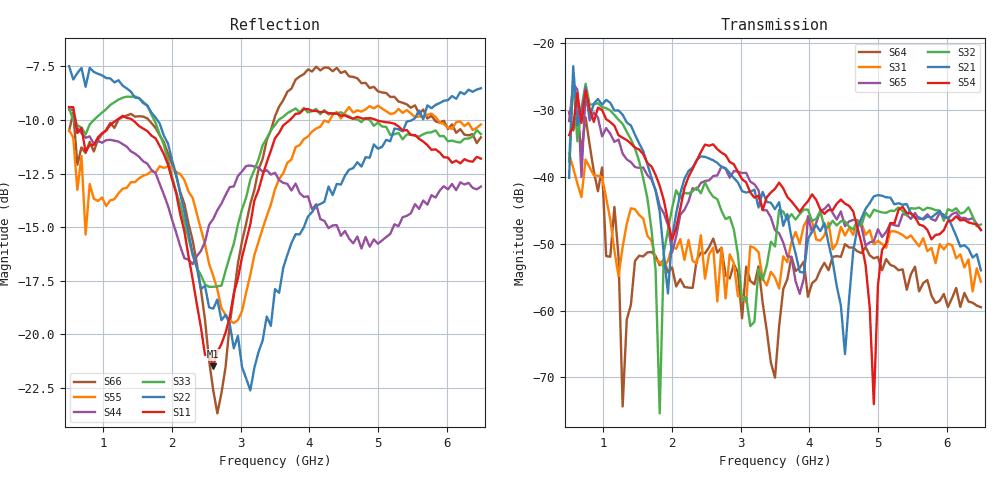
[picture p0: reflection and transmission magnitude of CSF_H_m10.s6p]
!Keysight Technologies,M9804A,MY58100912,A.14.10.03
!Date: Thursday, April 27, 2023 10:28:33
!Correction: S11(C  6-Port  )
!S12(C  6-Port  )
!S13(C  6-Port  )
!S14(C  6-Port  )
!S15(C  6-Port  )
!S16(C  6-Port  )
!S21(C  6-Port  )
!S22(C  6-Port  )
!S23(C  6-Port  )
!S24(C  6-Port  )
!S25(C  6-Port  )
!S26(C  6-Port  )
!S31(C  6-Port  )
!S32(C  6-Port  )
!S33(C  6-Port  )
!S34(C  6-Port  )
!S35(C  6-Port  )
!S36(C  6-Port  )
!S41(C  6-Port  )
!S42(C  6-Port  )
!S43(C  6-Port  )
!S44(C  6-Port  )
!S45(C  6-Port  )
!S46(C  6-Port  )
!S51(C  6-Port  )
!S52(C  6-Port  )
!S53(C  6-Port  )
!S54(C  6-Port  )
!S55(C  6-Port  )
!S56(C  6-Port  )
!S61(C  6-Port  )
!S62(C  6-Port  )
!S63(C  6-Port  )
!S64(C  6-Port  )
!S65(C  6-Port  )
!S66(C  6-Port  )
!S6P File: Measurement: :
# Hz S  RI  R 50
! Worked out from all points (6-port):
!   101 points, 500 MHz to 6.5 GHz, reference 50 ohm
!   strongest paths, dB at 500 MHz, 2 GHz, 3.5 GHz, 5 GHz, 6.5 GHz:
!     S54: -33.7, -49.4, -41.8, -56.2, -47.9
!     S21: -40.1, -49.1, -44.8, -42.7, -54.0
!     S32: -37.7, -44.7, -50.4, -45.1, -47.1
!     S65: -31.6, -51.3, -48.0, -47.8, -47.9
!     S31: -36.5, -50.5, -55.0, -49.6, -55.7
!     S64: -30.3, -53.5, -70.1, -52.0, -59.5
!   lowest |S11| = -21.5 dB at 2.6 GHz (marker M1), VSWR 1.18, Z = 42.5 + j2.19 ohm
!   |S11| at or under -10 dB: 589.9 MHz to 1.194 GHz (604.1 MHz wide, 67.7 % of centre); 1.422 GHz to 3.715 GHz (2.292 GHz wide, 89.2 % of centre); 4.975 GHz to end of sweep
